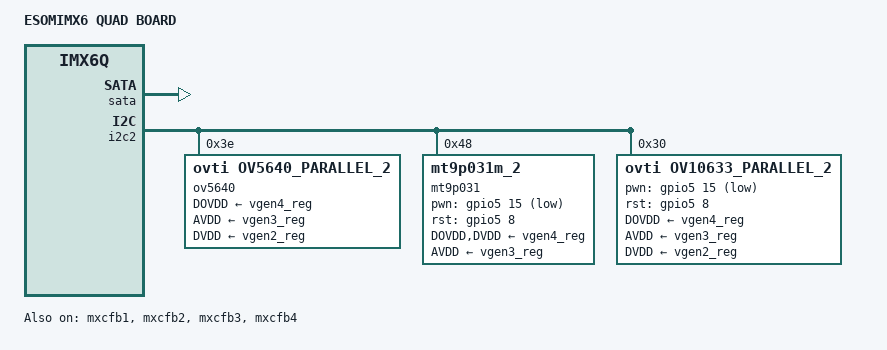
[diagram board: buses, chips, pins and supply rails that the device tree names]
/*
 * Copyright 2012=2015 Freescale Semiconductor, Inc.
 * Copyright 2011 Linaro Ltd.
 *
 * The code contained herein is licensed under the GNU General Public
 * License. You may obtain a copy of the GNU General Public License
 * Version 2 or later at the following locations:
 *
 * http://www.opensource.org/licenses/gpl-license.html
 * http://www.gnu.org/copyleft/gpl.html
 */

/dts-v1/;

#define OV8825_MIPI_CAMERA 0

#include "imx6q.dtsi"
#include "imx6qdl-esomimx6.dtsi"

/ {
	model = "ESOMIMX6 QUAD BOARD";

#if OV8825_MIPI_CAMERA
	compatible = "fsl,imx6q-ankaa-ov8825", "fsl,imx6q";
#else
	compatible = "fsl,imx6q-ankaa", "fsl,imx6q";
#endif

	v4l2_cap_2 {
		compatible = "fsl,imx6q-v4l2-capture";
		ipu_id = <1>;
		csi_id = <1>;
		mclk_source = <0>;
		status = "okay";
	};

#if OV8825_MIPI_CAMERA
	v4l2_cap_1 {
		ipu_id = <1>;
	};

	v4l2_cap_2 {
		status = "disabled";
	};
#endif

};

&ldb {
	lvds-channel@0 {
		crtc = "ipu2-di0";
	};

	lvds-channel@1 {
		crtc = "ipu2-di1";
	};
};

&mxcfb1 {
	status = "okay";
};

&mxcfb2 {
	status = "okay";
};

&mxcfb3 {
	status = "okay";
};

&mxcfb4 {
	status = "okay";
};

&sata {
	status = "okay";
};


&i2c2 {
	ov5640: ov5640@3e {
		compatible = "ovti,ov5640_parallel_2";
		reg = <0x3e>;
		pinctrl-names = "default";
		pinctrl-0 = <&pinctrl_ov5640_csi1>;
		clocks = <&clks 201>;
		clock-names = "csi_mclk";
		DOVDD-supply = <&vgen4_reg>; /* 1.8v */
		AVDD-supply = <&vgen3_reg>;  /* 2.8v, on rev C board is VGEN3,
						on rev B board is VGEN5 */
		DVDD-supply = <&vgen2_reg>;  /* 1.5v*/
		/*pwn-gpios = <&gpio5 15 1>;*/   /* active high: DISP0_DAT21 */
		/*rst-gpios = <&gpio5 8 0>;*/   /* active low: DISP0_DAT14 */
		csi_id = <1>;
		ipu_id = <1>;
		mclk = <24000000>;
		mclk_source = <0>;
		status = "okay";
	};

	mt9p031: mt9p031@48 {
		compatible = "mt9p031m_2";
		reg = <0x48>;
		pinctrl-names = "default";
		pinctrl-0 = <&pinctrl_ov5640_csi1>;
		clocks = <&clks 201>;
		clock-names = "csi_mclk";
		DOVDD-supply = <&vgen4_reg>; /* 1.8v */
		AVDD-supply = <&vgen3_reg>;  /* 2.8v, on rev C board is VGEN3,
						on rev B board is VGEN5 */
		DVDD-supply = <&vgen4_reg>;  /* 1.8v*/
		pwn-gpios = <&gpio5 15 1>;   /* active high: DISP0_DAT21 */
		rst-gpios = <&gpio5 8 0>;   /* active low: DISP0_DAT14 */
		csi_id = <1>;
		ipu_id = <1>;
		mclk = <24000000>;
		mclk_source = <0>;
		status = "okay";
	};

	/* ov10633 parallel camera 1 */
	ov10633_parallel_2: ov10633@30 {
		compatible = "ovti,ov10633_parallel_2";
		reg = <0x30>;
		pinctrl-names = "default";
		pinctrl-0 = <&pinctrl_ov5640_csi1>;
		clocks = <&clks 201>;
		clock-names = "csi_mclk";
		DOVDD-supply = <&vgen4_reg>; /* 1.8v */ /* Not sure of these three values */
		AVDD-supply = <&vgen3_reg>;  /* 2.8v, on rev C board is VGEN3,
						on rev B board is VGEN5 */
		DVDD-supply = <&vgen2_reg>;  /* 1.5v*/
		pwn-gpios = <&gpio5 15 1>;   /* active high: DISP0_DAT21 */
		rst-gpios = <&gpio5 8 0>;   /* active low: DISP0_DAT14 */
		ipu_id = <1>;
		csi_id = <1>;
		mclk = <24000000>;
		mclk_source = <0>;

	};
};

&iomuxc	{
	parallel_camera {
		pinctrl_ov5640_csi1: ov5640_csi1 {
			fsl,pins = <
				MX6QDL_PAD_EIM_DA9__IPU2_CSI1_DATA00   0x0001B0B0
				MX6QDL_PAD_EIM_DA8__IPU2_CSI1_DATA01 	0x0001B0B0
				MX6QDL_PAD_EIM_DA7__IPU2_CSI1_DATA02 	0x0001B0B0
				MX6QDL_PAD_EIM_DA5__IPU2_CSI1_DATA04 	0x0001B0B0
				MX6QDL_PAD_EIM_DA4__IPU2_CSI1_DATA05 	0x0001B0B0
				MX6QDL_PAD_EIM_DA3__IPU2_CSI1_DATA06 	0x0001B0B0
				MX6QDL_PAD_EIM_DA2__IPU2_CSI1_DATA07 	0x0001B0B0
				MX6QDL_PAD_EIM_DA1__IPU2_CSI1_DATA08 	0x0001B0B0
				MX6QDL_PAD_EIM_DA0__IPU2_CSI1_DATA09 	0x0001B0B0
				MX6QDL_PAD_EIM_EB1__IPU2_CSI1_DATA10 	0x0001B0B0
				MX6QDL_PAD_EIM_EB0__IPU2_CSI1_DATA11 	0x0001B0B0
				MX6QDL_PAD_EIM_A17__IPU2_CSI1_DATA12 	0x0001B0B0
				MX6QDL_PAD_EIM_A18__IPU2_CSI1_DATA13 	0x0001B0B0
				MX6QDL_PAD_EIM_A19__IPU2_CSI1_DATA14 	0x0001B0B0
				MX6QDL_PAD_EIM_A20__IPU2_CSI1_DATA15 	0x0001B0B0
				MX6QDL_PAD_EIM_A21__IPU2_CSI1_DATA16 	0x0001B0B0
				MX6QDL_PAD_EIM_A22__IPU2_CSI1_DATA17 	0x0001B0B0
				MX6QDL_PAD_EIM_A23__IPU2_CSI1_DATA18 	0x0001B0B0
				MX6QDL_PAD_EIM_A24__IPU2_CSI1_DATA19 	0x0001B0B0
				MX6QDL_PAD_EIM_DA10__IPU2_CSI1_DATA_EN 	0x0001B0B0
				MX6QDL_PAD_EIM_DA11__IPU2_CSI1_HSYNC 	0x0001B0B0
				MX6QDL_PAD_EIM_DA12__IPU2_CSI1_VSYNC 	0x0001B0B0
				MX6QDL_PAD_EIM_A16__IPU2_CSI1_PIXCLK 	0x0001B0B0
			>;
		};
	};
};

#if OV8825_MIPI_CAMERA
&ov5640_parallel_1 {
	status = "disabled";
};

&ov8825_mipi {
	csi_id = <0>;
};

&mipi_csi {
	csi_id = <0>;
};
#endif

